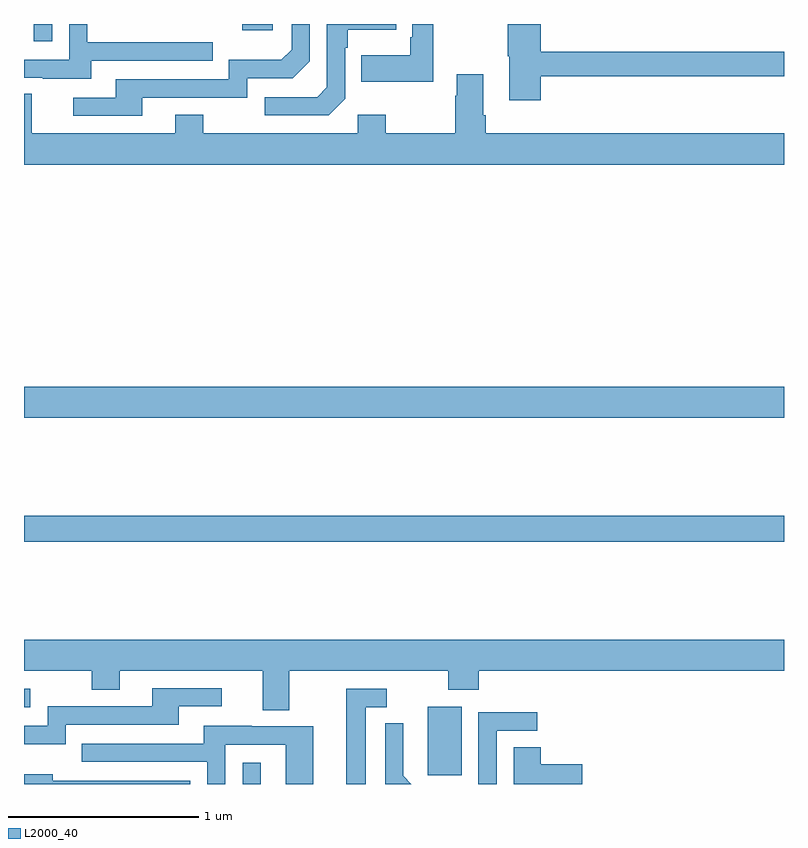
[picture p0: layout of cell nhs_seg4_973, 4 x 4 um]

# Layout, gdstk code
import gdstk
lib = gdstk.Library(unit=1e-6, precision=1e-09)
def R(c, l, rs):  # rectangles x0, y0, x1, y1
    for r in rs: c.add(gdstk.rectangle(r[:2], r[2:], *l))
def P(c, l, *ps):  # polygons
    for p in ps: c.add(gdstk.Polygon(p, *l))
L2000_40 = (2000, 40)

nhs_seg4_973 = lib.new_cell('nhs_seg4_973')
R(nhs_seg4_973, L2000_40, [(162.15,786.9,162.247,787.012), (163.124,786.945,163.303,787.306), (161,787.305,161.032,787.401), (161,788.176,165,788.312), (161,788.828,165,788.992), (161.051,790.809,161.148,790.9), (162.149,790.868,162.31,790.9)])
P(nhs_seg4_973, L2000_40, [(163.153,790.9),(163.044,790.9),(163.044,790.831),(163.032,790.831),(163.032,790.735),(162.775,790.735),(162.775,790.595),(163.153,790.595)],
  [(161.353,790.707),(161.993,790.707),(161.993,790.803),(161.334,790.803),(161.334,790.9),(161.238,790.9),(161.238,790.713),(161,790.713),(161,790.617),(161.099,790.617),(161.099,790.613),(161.353,790.613)],
  [(162.69,790.506),(162.69,790.775),(162.703,790.775),(162.703,790.871),(162.959,790.871),(162.959,790.9),(162.594,790.9),(162.594,790.566),(162.543,790.515),(162.267,790.515),(162.267,790.419),(162.603,790.419)],
  [(163.721,790.626),(165,790.626),(165,790.754),(163.721,790.754),(163.721,790.9),(163.546,790.9),(163.546,790.731),(163.553,790.731),(163.553,790.5),(163.721,790.5)],
  [(161.623,790.512),(162.174,790.512),(162.174,790.614),(162.414,790.614),(162.504,790.704),(162.504,790.9),(162.408,790.9),(162.408,790.764),(162.355,790.711),(162.078,790.711),(162.078,790.608),(161.483,790.608),(161.483,790.512),(161.259,790.512),(161.259,790.416),(161.623,790.416)],
  [(165,790.324),(163.43,790.324),(163.43,790.42),(163.417,790.42),(163.417,790.636),(163.277,790.636),(163.277,790.523),(163.27,790.523),(163.27,790.324),(162.903,790.324),(162.903,790.423),(162.756,790.423),(162.756,790.324),(161.943,790.324),(161.943,790.423),(161.795,790.423),(161.795,790.324),(161.041,790.324),(161.041,790.532),(161,790.532),(161,790.16),(165,790.16)],
  [(162.397,787.496),(163.234,787.496),(163.234,787.397),(163.394,787.397),(163.394,787.496),(165,787.496),(165,787.66),(161,787.66),(161,787.496),(161.356,787.496),(161.356,787.397),(161.503,787.397),(161.503,787.496),(162.257,787.496),(162.257,787.288),(162.397,787.288)],
  [(161.22,787.212),(161.815,787.212),(161.815,787.308),(162.04,787.308),(162.04,787.404),(161.675,787.404),(161.675,787.308),(161.124,787.308),(161.124,787.206),(161,787.206),(161,787.109),(161.22,787.109)],
  [(162.799,787.305),(162.91,787.305),(162.91,787.401),(162.695,787.401),(162.695,786.9),(162.799,786.9)],
  [(163.488,787.179),(163.702,787.179),(163.702,787.278),(163.392,787.278),(163.392,786.9),(163.488,786.9)],
  [(162.995,786.944),(162.995,787.066),(162.996,787.066),(162.996,787.22),(162.9,787.22),(162.9,786.902),(162.902,786.9),(163.038,786.9)],
  [(162.06,787.107),(162.378,787.107),(162.378,786.9),(162.523,786.9),(162.523,787.203),(162.199,787.203),(162.199,787.207),(161.945,787.207),(161.945,787.113),(161.305,787.113),(161.305,787.017),(161.964,787.017),(161.964,786.9),(162.06,786.9)],
  [(163.939,787.004),(163.721,787.004),(163.721,787.094),(163.577,787.094),(163.577,786.9),(163.939,786.9)],
  [(161.874,786.918),(161.15,786.918),(161.15,786.952),(161,786.952),(161,786.9),(161.874,786.9)])

lib.write_gds('nhs_seg4_973.gds')
